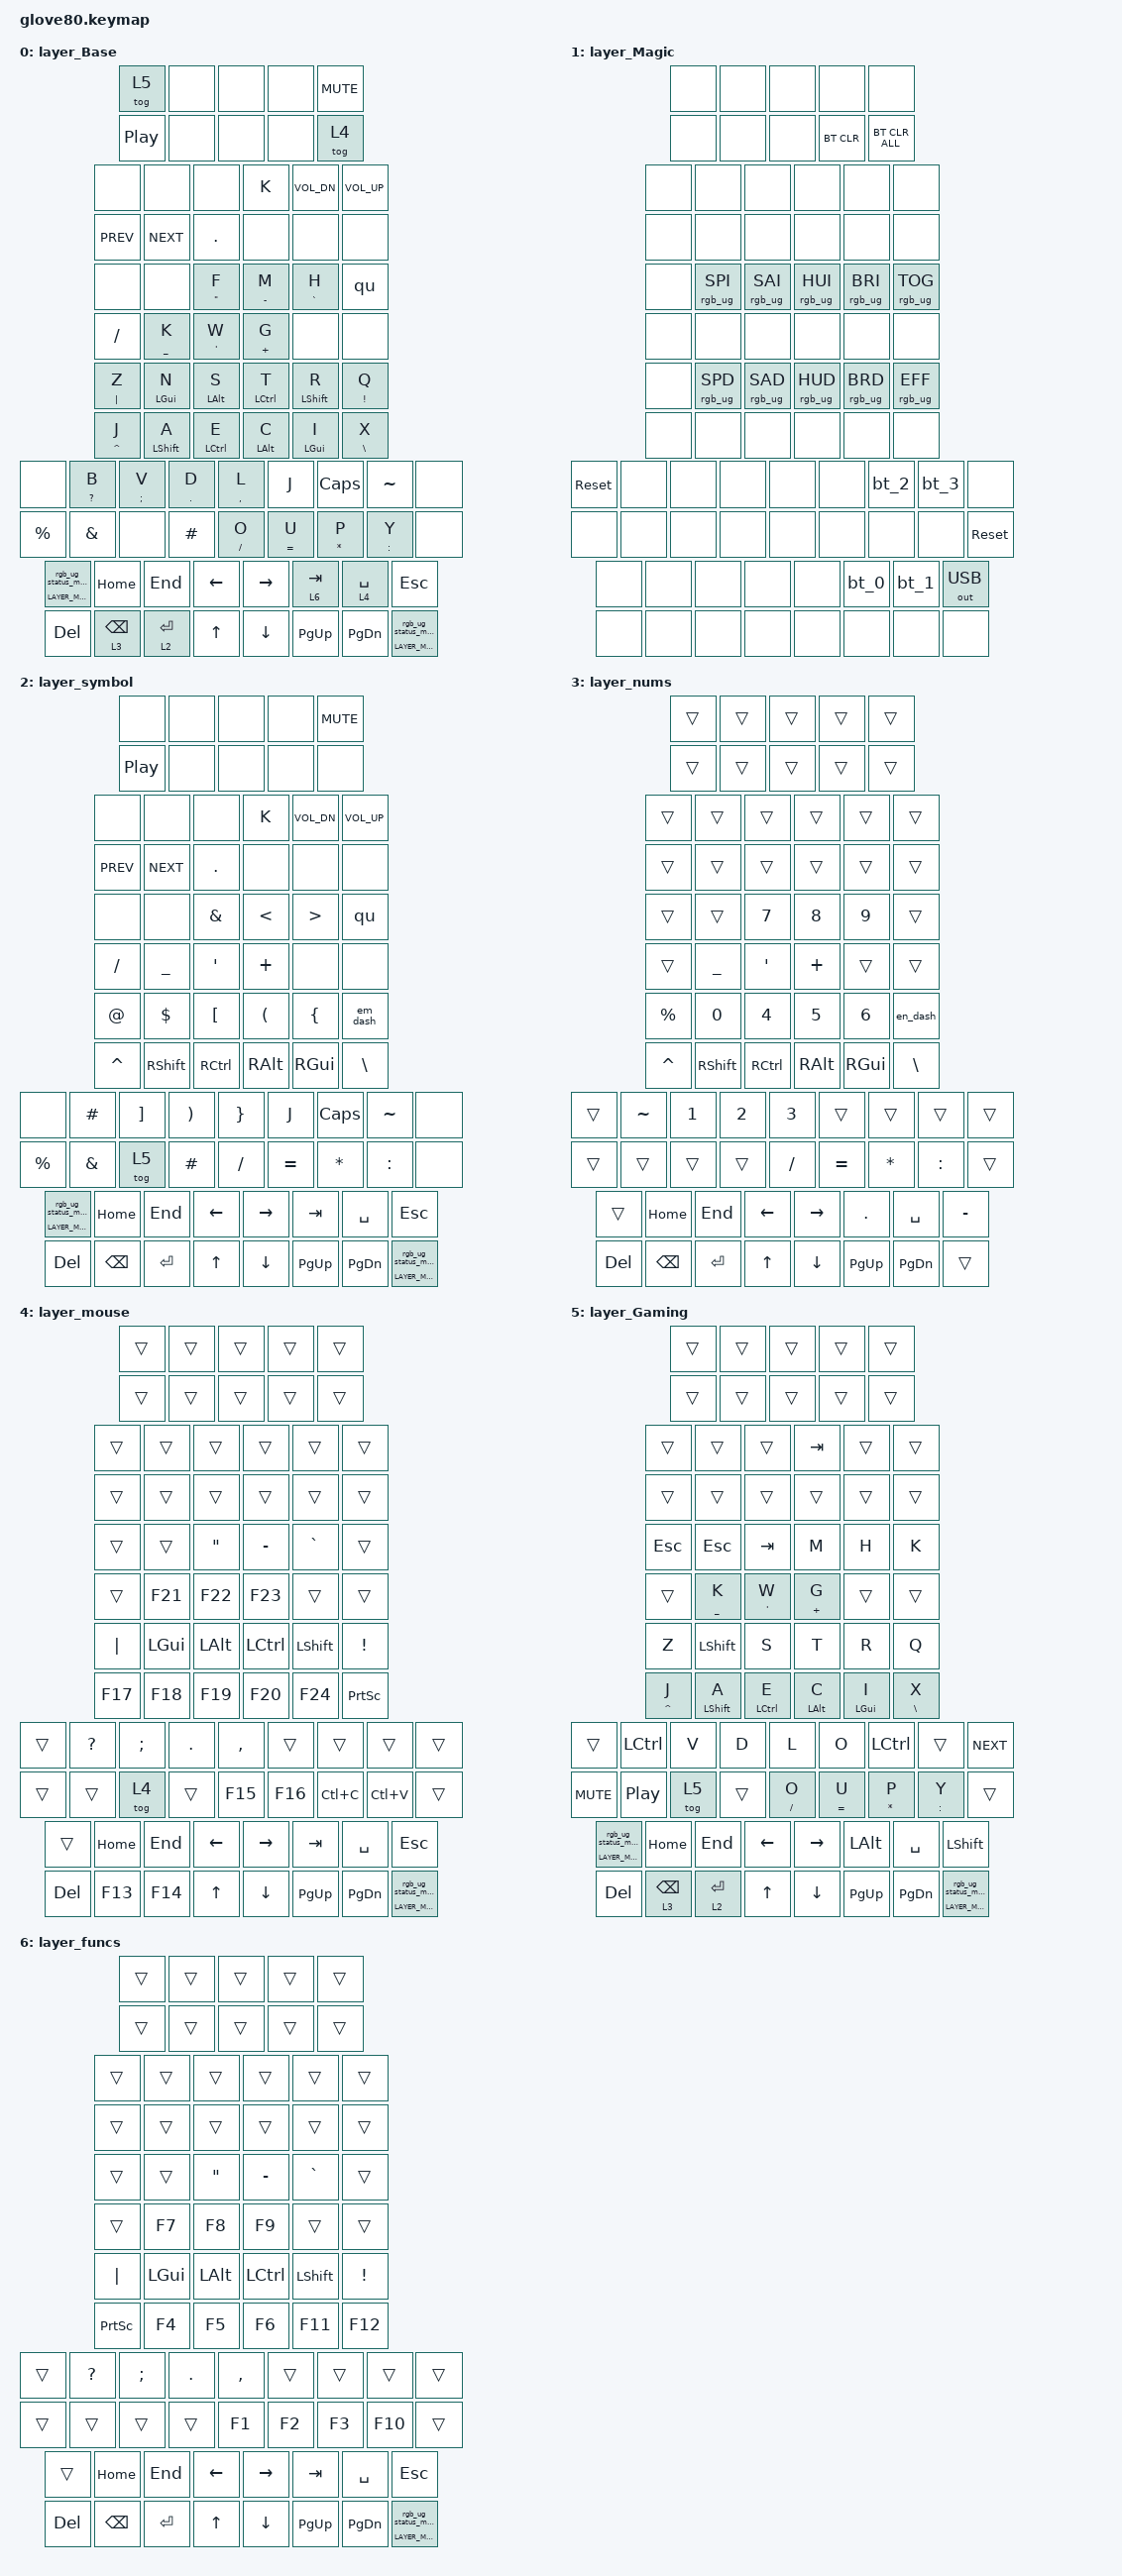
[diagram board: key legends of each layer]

/*
 * Copyright (c) 2020 The ZMK Contributors
 * Copyright (c) 2023 Innaworks Development Limited, trading as MoErgo
 *
 * SPDX-License-Identifier: MIT
 */


/* THIS FILE WAS GENERATED BY GLOVE80 LAYOUT EDITOR
 *
 * This file was generated automatically. You may or may not want to
 * edit it directly.
 */

#include <behaviors.dtsi>
/* Include all behaviour includes needed */
#include <dt-bindings/zmk/outputs.h>
#include <dt-bindings/zmk/keys.h>
#include <dt-bindings/zmk/bt.h>
#include <dt-bindings/zmk/rgb.h>

&lt {
    quick_tap_ms = <300>;
};

/* Automatically generated layer name #define */
#define LAYER_Base 0
#define LAYER_Magic 1
#define LAYER_R_Primary_Nums 2
#define LAYER_R_Secondary_Functions 3
#define LAYER_L_Primary_Functions 4
#define LAYER_L_Tertiary_Parens 5
#define LAYER_Gaming 6

/* To deal with the situation where there is no Lower layer, to keep &lower happy */
#ifndef LAYER_Lower
#define LAYER_Lower 0
#endif

/* Custom Device-tree */



/* Glove80 system behavior & macros */
/ {
    behaviors {
        // For the "layer" key, it'd nice to be able to use it as either a shift or a toggle.
        // Configure it as a tap dance, so the first tap (or hold) is a &mo and the second tap is a &to
        lower: lower {
            compatible = "zmk,behavior-tap-dance";
            label = "LAYER_TAP_DANCE";
            #binding-cells = <0>;
            tapping-term-ms = <200>;
            bindings = <&mo LAYER_Lower>, <&to LAYER_Lower>;
        };
    };
};

/ {
    macros {
        rgb_ug_status_macro: rgb_ug_status_macro {
            label = "RGB_UG_STATUS";
            compatible = "zmk,behavior-macro";
            #binding-cells = <0>;
            bindings
                = <&rgb_ug RGB_STATUS>;
        };
    };
};


/ {
#ifdef BT_DISC_CMD
    behaviors {
        bt_0: bt_0 {
            compatible = "zmk,behavior-tap-dance";
            label = "BT_0";
            #binding-cells = <0>;
            tapping-term-ms = <200>;
            bindings = <&bt_select_0>, <&bt BT_DISC 0>;
        };
        bt_1: bt_1 {
            compatible = "zmk,behavior-tap-dance";
            label = "BT_1";
            #binding-cells = <0>;
            tapping-term-ms = <200>;
            bindings = <&bt_select_1>, <&bt BT_DISC 1>;
        };
        bt_2: bt_2 {
            compatible = "zmk,behavior-tap-dance";
            label = "BT_2";
            #binding-cells = <0>;
            tapping-term-ms = <200>;
            bindings = <&bt_select_2>, <&bt BT_DISC 2>;
        };
        bt_3: bt_3 {
            compatible = "zmk,behavior-tap-dance";
            label = "BT_3";
            #binding-cells = <0>;
            tapping-term-ms = <200>;
            bindings = <&bt_select_3>, <&bt BT_DISC 3>;
        };
    };
    macros {
        bt_select_0: bt_select_0 {
            label = "BT_SELECT_0";
            compatible = "zmk,behavior-macro";
            #binding-cells = <0>;
            bindings
                = <&out OUT_BLE>,
                  <&bt BT_SEL 0>;
        };
        bt_select_1: bt_select_1 {
            label = "BT_SELECT_1";
            compatible = "zmk,behavior-macro";
            #binding-cells = <0>;
            bindings
                = <&out OUT_BLE>,
                  <&bt BT_SEL 1>;
        };
        bt_select_2: bt_select_2 {
            label = "BT_SELECT_2";
            compatible = "zmk,behavior-macro";
            #binding-cells = <0>;
            bindings
                = <&out OUT_BLE>,
                  <&bt BT_SEL 2>;
        };
        bt_select_3: bt_select_3 {
            label = "BT_SELECT_3";
            compatible = "zmk,behavior-macro";
            #binding-cells = <0>;
            bindings
                = <&out OUT_BLE>,
                  <&bt BT_SEL 3>;
        };
    };
#else
    macros {
        bt_0: bt_0 {
            label = "BT_0";
            compatible = "zmk,behavior-macro";
            #binding-cells = <0>;
            bindings
                = <&out OUT_BLE>,
                  <&bt BT_SEL 0>;
        };
        bt_1: bt_1 {
            label = "BT_1";
            compatible = "zmk,behavior-macro";
            #binding-cells = <0>;
            bindings
                = <&out OUT_BLE>,
                  <&bt BT_SEL 1>;
        };
        bt_2: bt_2 {
            label = "BT_2";
            compatible = "zmk,behavior-macro";
            #binding-cells = <0>;
            bindings
                = <&out OUT_BLE>,
                  <&bt BT_SEL 2>;
        };
        bt_3: bt_3 {
            label = "BT_3";
            compatible = "zmk,behavior-macro";
            #binding-cells = <0>;
            bindings
                = <&out OUT_BLE>,
                  <&bt BT_SEL 3>;
        };
    };
#endif
};

/* #define for key positions */
#define POS_LH_T1 52
#define POS_LH_T2 53
#define POS_LH_T3 54
#define POS_LH_T4 69
#define POS_LH_T5 70
#define POS_LH_T6 71
#define POS_LH_C1R2 15
#define POS_LH_C1R3 27
#define POS_LH_C1R4 39
#define POS_LH_C1R5 51
#define POS_LH_C2R1 4
#define POS_LH_C2R2 14
#define POS_LH_C2R3 26
#define POS_LH_C2R4 38
#define POS_LH_C2R5 50
#define POS_LH_C2R6 68
#define POS_LH_C3R1 3
#define POS_LH_C3R2 13
#define POS_LH_C3R3 25
#define POS_LH_C3R4 37
#define POS_LH_C3R5 49
#define POS_LH_C3R6 67
#define POS_LH_C4R1 2
#define POS_LH_C4R2 12
#define POS_LH_C4R3 24
#define POS_LH_C4R4 36
#define POS_LH_C4R5 48
#define POS_LH_C4R6 66
#define POS_LH_C5R1 1
#define POS_LH_C5R2 11
#define POS_LH_C5R3 23
#define POS_LH_C5R4 35
#define POS_LH_C5R5 47
#define POS_LH_C5R6 65
#define POS_LH_C6R1 0
#define POS_LH_C6R2 10
#define POS_LH_C6R3 22
#define POS_LH_C6R4 34
#define POS_LH_C6R5 46
#define POS_LH_C6R6 64
#define POS_RH_T1 57
#define POS_RH_T2 56
#define POS_RH_T3 55
#define POS_RH_T4 74
#define POS_RH_T5 73
#define POS_RH_T6 72
#define POS_RH_C1R2 16
#define POS_RH_C1R3 28
#define POS_RH_C1R4 40
#define POS_RH_C1R5 58
#define POS_RH_C2R1 5
#define POS_RH_C2R2 17
#define POS_RH_C2R3 29
#define POS_RH_C2R4 41
#define POS_RH_C2R5 59
#define POS_RH_C2R6 75
#define POS_RH_C3R1 6
#define POS_RH_C3R2 18
#define POS_RH_C3R3 30
#define POS_RH_C3R4 42
#define POS_RH_C3R5 60
#define POS_RH_C3R6 76
#define POS_RH_C4R1 7
#define POS_RH_C4R2 19
#define POS_RH_C4R3 31
#define POS_RH_C4R4 43
#define POS_RH_C4R5 61
#define POS_RH_C4R6 77
#define POS_RH_C5R1 8
#define POS_RH_C5R2 20
#define POS_RH_C5R3 32
#define POS_RH_C5R4 44
#define POS_RH_C5R5 62
#define POS_RH_C5R6 78
#define POS_RH_C6R1 9
#define POS_RH_C6R2 21
#define POS_RH_C6R3 33
#define POS_RH_C6R4 45
#define POS_RH_C6R5 63
#define POS_RH_C6R6 79

/* Custom Defined Behaviors */
/ {
    // NOTE: Use the `#define` settings below to customize this keymap!
// For example, here are the main optional features you can enable:
#define DIFFICULTY_LEVEL  4 // 0:custom, 1:easy -> 5:hard (see below)
// TIP: Add more setting overrides here instead of editing them below.

//////////////////////////////////////////////////////////////////////////////
//
// Advanced Home Row Mods (HRM) Example based on
// Sunaku's Keymap v35 -- "Glorious Engrammer"
// - https://github.com/sunaku/glove80-keymaps
//
//////////////////////////////////////////////////////////////////////////////

//
// DIFFICULTY_LEVEL specifies your level of expertise with this keymap.
// It's meant to help newcomers gradually work their way up to mastery.
// You can disable this setting by omitting it or assigning a `0` zero.
//
// #define DIFFICULTY_LEVEL 0 // custom (see defaults below)
// #define DIFFICULTY_LEVEL 1 // novice (500ms)
// #define DIFFICULTY_LEVEL 2 // slower (400ms)
// #define DIFFICULTY_LEVEL 3 // normal (300ms)
// #define DIFFICULTY_LEVEL 4 // faster (200ms)
// #define DIFFICULTY_LEVEL 5 // expert (100ms)
//
#if defined(DIFFICULTY_LEVEL) && DIFFICULTY_LEVEL > 0
#define DIFFICULTY_THRESHOLD (((6-DIFFICULTY_LEVEL)*100))
#ifndef HOMEY_HOLDING_TIME
#define HOMEY_HOLDING_TIME DIFFICULTY_THRESHOLD
#endif
#ifndef INDEX_HOLDING_TIME
#define INDEX_HOLDING_TIME DIFFICULTY_THRESHOLD
#endif
#endif

behaviors {

    //////////////////////////////////////////////////////////////////////////
    //
    // Miryoku layers and home row mods (ported from my QMK endgame)
    // - https://sunaku.github.io/home-row-mods.html#porting-to-zmk
    // - https://github.com/urob/zmk-config#timeless-homerow-mods
    //
    //////////////////////////////////////////////////////////////////////////

    //
    // HOMEY_HOLDING_TYPE defines the flavor of ZMK hold-tap behavior to use
    // for the pinky, ring, and middle fingers (which are assigned to Super,
    // Alt, and Ctrl respectively in the Miryoku system) on home row keys.
    //
    #ifndef HOMEY_HOLDING_TYPE
    #define HOMEY_HOLDING_TYPE "tap-preferred"
    #endif

    //
    // HOMEY_HOLDING_TIME defines how long you need to hold (milliseconds)
    // home row mod keys in order to send their modifiers to the computer
    // (i.e. "register" them) for mod-click mouse usage (e.g. Ctrl-Click).
    //
    #ifndef HOMEY_HOLDING_TIME
    #define HOMEY_HOLDING_TIME 270 // TAPPING_TERM + ALLOW_CROSSOVER_AFTER
    #endif

    //
    // HOMEY_STREAK_DECAY defines how long you need to wait (milliseconds)
    // after typing before you can use home row mods again.  It prevents
    // unintended activation of home row mods when you're actively typing.
    //
    #ifndef HOMEY_STREAK_DECAY
    #define HOMEY_STREAK_DECAY 250
    #endif

    //
    // HOMEY_REPEAT_DECAY defines how much time you have left (milliseconds)
    // after tapping a key to hold it again in order to make it auto-repeat.
    //
    #ifndef HOMEY_REPEAT_DECAY
    #define HOMEY_REPEAT_DECAY 300 // "tap then hold" for key auto-repeat
    #endif

    //
    // INDEX_HOLDING_TYPE defines the flavor of ZMK hold-tap behavior to use
    // for index fingers (which Miryoku assigns to Shift) on home row keys.
    //
    #ifndef INDEX_HOLDING_TYPE
    #define INDEX_HOLDING_TYPE "tap-preferred"
    #endif

    //
    // INDEX_HOLDING_TIME defines how long you need to hold (milliseconds)
    // index finger keys in order to send their modifiers to the computer
    // (i.e. "register" them) for mod-click mouse usage (e.g. Shift-Click).
    //
    #ifndef INDEX_HOLDING_TIME
    #define INDEX_HOLDING_TIME 170
    #endif

    //
    // INDEX_STREAK_DECAY defines how long you need to wait (milliseconds)
    // after typing before you can use home row mods again.  It prevents
    // unintended activation of home row mods when you're actively typing.
    //
    #ifndef INDEX_STREAK_DECAY
    #define INDEX_STREAK_DECAY 150
    #endif

    //
    // INDEX_REPEAT_DECAY defines how much time you have left (milliseconds)
    // after tapping a key to hold it again in order to make it auto-repeat.
    //
    #ifndef INDEX_REPEAT_DECAY
    #define INDEX_REPEAT_DECAY 300 // "tap then hold" for key auto-repeat
    #endif

    //
    // Glove80 key positions index for positional hold-tap
    // - https://discord.com/channels/877392805654306816/937645688244826154/1066713913351221248
    // - https://media.discordapp.net/attachments/937645688244826154/1066713913133121556/image.png
    //
    // |------------------------|------------------------|
    // | LEFT_HAND_KEYS         |        RIGHT_HAND_KEYS |
    // |                        |                        |
    // |  0  1  2  3  4         |          5  6  7  8  9 |
    // | 10 11 12 13 14 15      |      16 17 18 19 20 21 |
    // | 22 23 24 25 26 27      |      28 29 30 31 32 33 |
    // | 34 35 36 37 38 39      |      40 41 42 43 44 45 |
    // | 46 47 48 49 50 51      |      58 59 60 61 62 63 |
    // | 64 65 66 67 68         |         75 76 77 78 79 |
    // |                69 52   |   57 74                |
    // |                 70 53  |  56 73                 |
    // |                  71 54 | 55 72                  |
    // |------------------------|------------------------|
    //
    #define LEFT_HAND_KEYS      \
          0  1  2  3  4         \
         10 11 12 13 14 15      \
         22 23 24 25 26 27      \
         34 35 36 37 38 39      \
         46 47 48 49 50 51      \
         64 65 66 67 68
    #define RIGHT_HAND_KEYS     \
                                           5  6  7  8  9 \
                                       16 17 18 19 20 21 \
                                       28 29 30 31 32 33 \
                                       40 41 42 43 44 45 \
                                       58 59 60 61 62 63 \
                                          75 76 77 78 79
    #define THUMB_KEYS          \
                        69 52       57 74                \
                         70 53     56 73                 \
                          71 54   55 72

    //
    // Home row mods with per-finger configuration settings
    //
    #ifndef PINKY_HOLDING_TYPE
    #define PINKY_HOLDING_TYPE HOMEY_HOLDING_TYPE
    #endif
    #ifndef PINKY_HOLDING_TIME
    #define PINKY_HOLDING_TIME HOMEY_HOLDING_TIME
    #endif
    #ifndef PINKY_STREAK_DECAY
    #define PINKY_STREAK_DECAY HOMEY_STREAK_DECAY
    #endif
    #ifndef PINKY_REPEAT_DECAY
    #define PINKY_REPEAT_DECAY HOMEY_REPEAT_DECAY
    #endif
    #ifndef RING1_HOLDING_TYPE
    #define RING1_HOLDING_TYPE HOMEY_HOLDING_TYPE
    #endif
    #ifndef RING1_HOLDING_TIME
    #define RING1_HOLDING_TIME HOMEY_HOLDING_TIME
    #endif
    #ifndef RING1_STREAK_DECAY
    #define RING1_STREAK_DECAY HOMEY_STREAK_DECAY
    #endif
    #ifndef RING1_REPEAT_DECAY
    #define RING1_REPEAT_DECAY HOMEY_REPEAT_DECAY
    #endif
    #ifndef RING2_HOLDING_TYPE
    #define RING2_HOLDING_TYPE HOMEY_HOLDING_TYPE
    #endif
    #ifndef RING2_HOLDING_TIME
    #define RING2_HOLDING_TIME HOMEY_HOLDING_TIME
    #endif
    #ifndef RING2_STREAK_DECAY
    #define RING2_STREAK_DECAY HOMEY_STREAK_DECAY
    #endif
    #ifndef RING2_REPEAT_DECAY
    #define RING2_REPEAT_DECAY HOMEY_REPEAT_DECAY
    #endif
    #ifndef MIDDY_HOLDING_TYPE
    #define MIDDY_HOLDING_TYPE HOMEY_HOLDING_TYPE
    #endif
    #ifndef MIDDY_HOLDING_TIME
    #define MIDDY_HOLDING_TIME HOMEY_HOLDING_TIME
    #endif
    #ifndef MIDDY_STREAK_DECAY
    #define MIDDY_STREAK_DECAY HOMEY_STREAK_DECAY
    #endif
    #ifndef MIDDY_REPEAT_DECAY
    #define MIDDY_REPEAT_DECAY HOMEY_REPEAT_DECAY
    #endif
    #ifndef INDEX_HOLDING_TYPE
    #define INDEX_HOLDING_TYPE HOMEY_HOLDING_TYPE
    #endif
    #ifndef INDEX_HOLDING_TIME
    #define INDEX_HOLDING_TIME HOMEY_HOLDING_TIME
    #endif
    #ifndef INDEX_STREAK_DECAY
    #define INDEX_STREAK_DECAY HOMEY_STREAK_DECAY
    #endif
    #ifndef INDEX_REPEAT_DECAY
    #define INDEX_REPEAT_DECAY HOMEY_REPEAT_DECAY
    #endif
    #ifndef LEFT_PINKY_HOLDING_TYPE
    #define LEFT_PINKY_HOLDING_TYPE PINKY_HOLDING_TYPE
    #endif
    #ifndef LEFT_PINKY_HOLDING_TIME
    #define LEFT_PINKY_HOLDING_TIME PINKY_HOLDING_TIME
    #endif
    #ifndef LEFT_PINKY_STREAK_DECAY
    #define LEFT_PINKY_STREAK_DECAY PINKY_STREAK_DECAY
    #endif
    #ifndef LEFT_PINKY_REPEAT_DECAY
    #define LEFT_PINKY_REPEAT_DECAY PINKY_REPEAT_DECAY
    #endif
    left_pinky: homey_left_pinky {
        compatible = "zmk,behavior-hold-tap";
        flavor = LEFT_PINKY_HOLDING_TYPE;
        hold-trigger-key-positions = <RIGHT_HAND_KEYS THUMB_KEYS>;
        hold-trigger-on-release; // wait for other home row mods
        tapping-term-ms = <LEFT_PINKY_HOLDING_TIME>;
        quick-tap-ms = <LEFT_PINKY_REPEAT_DECAY>;
        require-prior-idle-ms = <LEFT_PINKY_STREAK_DECAY>;
        #binding-cells = <2>;
        bindings = <&kp>, <&kp>;
    };
    #ifndef RIGHT_PINKY_HOLDING_TYPE
    #define RIGHT_PINKY_HOLDING_TYPE PINKY_HOLDING_TYPE
    #endif
    #ifndef RIGHT_PINKY_HOLDING_TIME
    #define RIGHT_PINKY_HOLDING_TIME PINKY_HOLDING_TIME
    #endif
    #ifndef RIGHT_PINKY_STREAK_DECAY
    #define RIGHT_PINKY_STREAK_DECAY PINKY_STREAK_DECAY
    #endif
    #ifndef RIGHT_PINKY_REPEAT_DECAY
    #define RIGHT_PINKY_REPEAT_DECAY PINKY_REPEAT_DECAY
    #endif
    right_pinky: homey_right_pinky {
        compatible = "zmk,behavior-hold-tap";
        flavor = RIGHT_PINKY_HOLDING_TYPE;
        hold-trigger-key-positions = <LEFT_HAND_KEYS THUMB_KEYS>;
        hold-trigger-on-release; // wait for other home row mods
        tapping-term-ms = <RIGHT_PINKY_HOLDING_TIME>;
        quick-tap-ms = <RIGHT_PINKY_REPEAT_DECAY>;
        require-prior-idle-ms = <RIGHT_PINKY_STREAK_DECAY>;
        #binding-cells = <2>;
        bindings = <&kp>, <&kp>;
    };
    #ifndef LEFT_RING1_HOLDING_TYPE
    #define LEFT_RING1_HOLDING_TYPE RING1_HOLDING_TYPE
    #endif
    #ifndef LEFT_RING1_HOLDING_TIME
    #define LEFT_RING1_HOLDING_TIME RING1_HOLDING_TIME
    #endif
    #ifndef LEFT_RING1_STREAK_DECAY
    #define LEFT_RING1_STREAK_DECAY RING1_STREAK_DECAY
    #endif
    #ifndef LEFT_RING1_REPEAT_DECAY
    #define LEFT_RING1_REPEAT_DECAY RING1_REPEAT_DECAY
    #endif
    left_ring1: homey_left_ring1 {
        compatible = "zmk,behavior-hold-tap";
        flavor = LEFT_RING1_HOLDING_TYPE;
        hold-trigger-key-positions = <RIGHT_HAND_KEYS THUMB_KEYS>;
        hold-trigger-on-release; // wait for other home row mods
        tapping-term-ms = <LEFT_RING1_HOLDING_TIME>;
        quick-tap-ms = <LEFT_RING1_REPEAT_DECAY>;
        require-prior-idle-ms = <LEFT_RING1_STREAK_DECAY>;
        #binding-cells = <2>;
        bindings = <&kp>, <&kp>;
    };
    #ifndef RIGHT_RING1_HOLDING_TYPE
    #define RIGHT_RING1_HOLDING_TYPE RING1_HOLDING_TYPE
    #endif
    #ifndef RIGHT_RING1_HOLDING_TIME
    #define RIGHT_RING1_HOLDING_TIME RING1_HOLDING_TIME
    #endif
    #ifndef RIGHT_RING1_STREAK_DECAY
    #define RIGHT_RING1_STREAK_DECAY RING1_STREAK_DECAY
    #endif
    #ifndef RIGHT_RING1_REPEAT_DECAY
    #define RIGHT_RING1_REPEAT_DECAY RING1_REPEAT_DECAY
    #endif
    right_ring1: homey_right_ring1 {
        compatible = "zmk,behavior-hold-tap";
        flavor = RIGHT_RING1_HOLDING_TYPE;
        hold-trigger-key-positions = <LEFT_HAND_KEYS THUMB_KEYS>;
        hold-trigger-on-release; // wait for other home row mods
        tapping-term-ms = <RIGHT_RING1_HOLDING_TIME>;
        quick-tap-ms = <RIGHT_RING1_REPEAT_DECAY>;
        require-prior-idle-ms = <RIGHT_RING1_STREAK_DECAY>;
        #binding-cells = <2>;
        bindings = <&kp>, <&kp>;
    };
    #ifndef LEFT_RING2_HOLDING_TYPE
    #define LEFT_RING2_HOLDING_TYPE RING2_HOLDING_TYPE
    #endif
    #ifndef LEFT_RING2_HOLDING_TIME
    #define LEFT_RING2_HOLDING_TIME RING2_HOLDING_TIME
    #endif
    #ifndef LEFT_RING2_STREAK_DECAY
    #define LEFT_RING2_STREAK_DECAY RING2_STREAK_DECAY
    #endif
    #ifndef LEFT_RING2_REPEAT_DECAY
    #define LEFT_RING2_REPEAT_DECAY RING2_REPEAT_DECAY
    #endif
    left_ring2: homey_left_ring2 {
        compatible = "zmk,behavior-hold-tap";
        flavor = LEFT_RING2_HOLDING_TYPE;
        hold-trigger-key-positions = <RIGHT_HAND_KEYS THUMB_KEYS>;
        hold-trigger-on-release; // wait for other home row mods
        tapping-term-ms = <LEFT_RING2_HOLDING_TIME>;
        quick-tap-ms = <LEFT_RING2_REPEAT_DECAY>;
        require-prior-idle-ms = <LEFT_RING2_STREAK_DECAY>;
        #binding-cells = <2>;
        bindings = <&kp>, <&kp>;
    };
    #ifndef RIGHT_RING2_HOLDING_TYPE
    #define RIGHT_RING2_HOLDING_TYPE RING2_HOLDING_TYPE
    #endif
    #ifndef RIGHT_RING2_HOLDING_TIME
    #define RIGHT_RING2_HOLDING_TIME RING2_HOLDING_TIME
    #endif
    #ifndef RIGHT_RING2_STREAK_DECAY
    #define RIGHT_RING2_STREAK_DECAY RING2_STREAK_DECAY
    #endif
    #ifndef RIGHT_RING2_REPEAT_DECAY
    #define RIGHT_RING2_REPEAT_DECAY RING2_REPEAT_DECAY
    #endif
    right_ring2: homey_right_ring2 {
        compatible = "zmk,behavior-hold-tap";
        flavor = RIGHT_RING2_HOLDING_TYPE;
        hold-trigger-key-positions = <LEFT_HAND_KEYS THUMB_KEYS>;
        hold-trigger-on-release; // wait for other home row mods
        tapping-term-ms = <RIGHT_RING2_HOLDING_TIME>;
        quick-tap-ms = <RIGHT_RING2_REPEAT_DECAY>;
        require-prior-idle-ms = <RIGHT_RING2_STREAK_DECAY>;
        #binding-cells = <2>;
        bindings = <&kp>, <&kp>;
    };
    #ifndef LEFT_MIDDY_HOLDING_TYPE
    #define LEFT_MIDDY_HOLDING_TYPE MIDDY_HOLDING_TYPE
    #endif
    #ifndef LEFT_MIDDY_HOLDING_TIME
    #define LEFT_MIDDY_HOLDING_TIME MIDDY_HOLDING_TIME
    #endif
    #ifndef LEFT_MIDDY_STREAK_DECAY
    #define LEFT_MIDDY_STREAK_DECAY MIDDY_STREAK_DECAY
    #endif
    #ifndef LEFT_MIDDY_REPEAT_DECAY
    #define LEFT_MIDDY_REPEAT_DECAY MIDDY_REPEAT_DECAY
    #endif
    left_middy: homey_left_middy {
        compatible = "zmk,behavior-hold-tap";
        flavor = LEFT_MIDDY_HOLDING_TYPE;
        hold-trigger-key-positions = <RIGHT_HAND_KEYS THUMB_KEYS>;
        hold-trigger-on-release; // wait for other home row mods
        tapping-term-ms = <LEFT_MIDDY_HOLDING_TIME>;
        quick-tap-ms = <LEFT_MIDDY_REPEAT_DECAY>;
        require-prior-idle-ms = <LEFT_MIDDY_STREAK_DECAY>;
        #binding-cells = <2>;
        bindings = <&kp>, <&kp>;
    };
    #ifndef RIGHT_MIDDY_HOLDING_TYPE
    #define RIGHT_MIDDY_HOLDING_TYPE MIDDY_HOLDING_TYPE
    #endif
    #ifndef RIGHT_MIDDY_HOLDING_TIME
    #define RIGHT_MIDDY_HOLDING_TIME MIDDY_HOLDING_TIME
    #endif
    #ifndef RIGHT_MIDDY_STREAK_DECAY
    #define RIGHT_MIDDY_STREAK_DECAY MIDDY_STREAK_DECAY
    #endif
    #ifndef RIGHT_MIDDY_REPEAT_DECAY
    #define RIGHT_MIDDY_REPEAT_DECAY MIDDY_REPEAT_DECAY
    #endif
    right_middy: homey_right_middy {
        compatible = "zmk,behavior-hold-tap";
        flavor = RIGHT_MIDDY_HOLDING_TYPE;
        hold-trigger-key-positions = <LEFT_HAND_KEYS THUMB_KEYS>;
        hold-trigger-on-release; // wait for other home row mods
        tapping-term-ms = <RIGHT_MIDDY_HOLDING_TIME>;
        quick-tap-ms = <RIGHT_MIDDY_REPEAT_DECAY>;
        require-prior-idle-ms = <RIGHT_MIDDY_STREAK_DECAY>;
        #binding-cells = <2>;
        bindings = <&kp>, <&kp>;
    };
    #ifndef LEFT_INDEX_HOLDING_TYPE
    #define LEFT_INDEX_HOLDING_TYPE INDEX_HOLDING_TYPE
    #endif
    #ifndef LEFT_INDEX_HOLDING_TIME
    #define LEFT_INDEX_HOLDING_TIME INDEX_HOLDING_TIME
    #endif
    #ifndef LEFT_INDEX_STREAK_DECAY
    #define LEFT_INDEX_STREAK_DECAY INDEX_STREAK_DECAY
    #endif
    #ifndef LEFT_INDEX_REPEAT_DECAY
    #define LEFT_INDEX_REPEAT_DECAY INDEX_REPEAT_DECAY
    #endif
    left_index: homey_left_index {
        compatible = "zmk,behavior-hold-tap";
        flavor = LEFT_INDEX_HOLDING_TYPE;
        hold-trigger-key-positions = <RIGHT_HAND_KEYS THUMB_KEYS>;
        hold-trigger-on-release; // wait for other home row mods
        tapping-term-ms = <LEFT_INDEX_HOLDING_TIME>;
        quick-tap-ms = <LEFT_INDEX_REPEAT_DECAY>;
        require-prior-idle-ms = <LEFT_INDEX_STREAK_DECAY>;
        #binding-cells = <2>;
        bindings = <&kp>, <&kp>;
    };
    #ifndef RIGHT_INDEX_HOLDING_TYPE
    #define RIGHT_INDEX_HOLDING_TYPE INDEX_HOLDING_TYPE
    #endif
    #ifndef RIGHT_INDEX_HOLDING_TIME
    #define RIGHT_INDEX_HOLDING_TIME INDEX_HOLDING_TIME
    #endif
    #ifndef RIGHT_INDEX_STREAK_DECAY
    #define RIGHT_INDEX_STREAK_DECAY INDEX_STREAK_DECAY
    #endif
    #ifndef RIGHT_INDEX_REPEAT_DECAY
    #define RIGHT_INDEX_REPEAT_DECAY INDEX_REPEAT_DECAY
    #endif
    right_index: homey_right_index {
        compatible = "zmk,behavior-hold-tap";
        flavor = RIGHT_INDEX_HOLDING_TYPE;
        hold-trigger-key-positions = <LEFT_HAND_KEYS THUMB_KEYS>;
        hold-trigger-on-release; // wait for other home row mods
        tapping-term-ms = <RIGHT_INDEX_HOLDING_TIME>;
        quick-tap-ms = <RIGHT_INDEX_REPEAT_DECAY>;
        require-prior-idle-ms = <RIGHT_INDEX_STREAK_DECAY>;
        #binding-cells = <2>;
        bindings = <&kp>, <&kp>;
    };

};
};

/ {
    behaviors {
        magic: magic {
            compatible = "zmk,behavior-hold-tap";
            label = "MAGIC_HOLD_TAP";
            #binding-cells = <2>;
            flavor = "tap-preferred";
            tapping-term-ms = <200>;
            bindings = <&mo>, <&rgb_ug_status_macro>;
        };
        repeat_tap: repeat_tap {
            compatible = "zmk,behavior-hold-tap";
            label = "REPEAT_TAP";
            #binding-cells = <2>;
            flavor = "tap-preferred";
            tapping-term-ms = <300>;
            bindings = <&mo>, <&key_repeat>;
        };
        caps_tap: caps_tap {
            compatible = "zmk,behavior-hold-tap";
            #binding-cells = <2>;
            flavor = "tap-preferred";
            tapping-term-ms = <300>;
            bindings = <&caps_word>, <&kp>;
        };
        blht: base_layer_hold_tap {
            compatible = "zmk,behavior-hold-tap";
            #binding-cells = <2>;
            flavor = "tap-preferred";
            tapping-term-ms = <DIFFICULTY_THRESHOLD>;
            bindings = <&kp>, <&kp>;
        };
    };
};


/* Automatically generated macro definitions */
/ {
    macros {
        en_dash: en_dash {
            label = "EN_DASH";
            compatible = "zmk,behavior-macro";
            #binding-cells = <0>;
            tap-ms = <0>;
            wait-ms = <0>;
            bindings
                = <&macro_press &kp LALT>
                , <&macro_tap &kp KP_N0 &kp KP_N1 &kp KP_N5 &kp KP_N0>
                , <&macro_release &kp LALT>
                ;
        };

        em_dash: em_dash {
            label = "EM_DASH";
            compatible = "zmk,behavior-macro";
            #binding-cells = <0>;
            tap-ms = <0>;
            wait-ms = <0>;
            bindings
                = <&macro_press &kp LALT>
                , <&macro_tap &kp KP_N0 &kp KP_N1 &kp KP_N5 &kp KP_N1>
                , <&macro_release &kp LALT>
                ;
        };

        qu: qu {
            label = "QU";
            compatible = "zmk,behavior-macro";
            #binding-cells = <0>;
            tap-ms = <0>;
            wait-ms = <0>;
            bindings
                = <&macro_tap &kp Q &kp U>
                ;
        };

    };
};

/ {
 keymap {
 compatible = "zmk,keymap";


 layer_Base {
 bindings = <
 &tog 5 &none &none &none &kp C_MUTE
 &kp C_PP &none &none &none &tog 4

 &none &none &none &kp K &kp C_VOL_DN &kp C_VOL_UP
 &kp C_PREV &kp C_NEXT &kp DOT &none &none &none

 &none &none &blht DQT F &blht MINUS M &blht GRAVE H &qu
 &kp FSLH &blht UNDER K &blht SQT W &blht PLUS G &none &none

 &blht PIPE Z &left_pinky LGUI N &left_ring1 LALT S &left_middy LCTRL T &left_index LSHFT R &blht EXCL Q
 &blht CARET J &right_index LSHFT A &right_middy LCTRL E &right_ring1 LALT C &right_pinky LGUI I &blht BSLH X

 &none &blht QMARK B &blht SEMI V &blht DOT D &blht COMMA L &kp J &kp CAPS &kp TILDE &none
 &kp PERCENT &kp AMPS &none &kp HASH &blht FSLH O &blht EQUAL U &blht STAR P &blht COLON Y &none

 &magic LAYER_Magic 0 &kp HOME &kp END &kp LEFT &kp RIGHT &lt 6 TAB &lt 4 SPACE &kp ESC
 &kp DEL &lt 3 BSPC &lt 2 RET &kp UP &kp DOWN &kp PG_UP &kp PG_DN &magic LAYER_Magic 0
 >;
 };

 layer_Magic {
 bindings = <
 &none &none &none &none &none
 &none &none &none &bt BT_CLR &bt BT_CLR_ALL

 &none &none &none &none &none &none
 &none &none &none &none &none &none

 &none &rgb_ug RGB_SPI &rgb_ug RGB_SAI &rgb_ug RGB_HUI &rgb_ug RGB_BRI &rgb_ug RGB_TOG
 &none &none &none &none &none &none

 &none &rgb_ug RGB_SPD &rgb_ug RGB_SAD &rgb_ug RGB_HUD &rgb_ug RGB_BRD &rgb_ug RGB_EFF
 &none &none &none &none &none &none

 &sys_reset &none &none &none &none &none &bt_2 &bt_3 &none
 &none &none &none &none &none &none &none &none &sys_reset

 &none &none &none &none &none &bt_0 &bt_1 &out OUT_USB
 &none &none &none &none &none &none &none &none
 >;
 };

 layer_symbol {
 bindings = <
 &none &none &none &none &kp C_MUTE
 &kp C_PP &none &none &none &none

 &none &none &none &kp K &kp C_VOL_DN &kp C_VOL_UP
 &kp C_PREV &kp C_NEXT &kp DOT &none &none &none

 &none &none &kp AMPS &kp LT &kp GT &qu
 &kp FSLH &kp UNDER &kp SQT &kp PLUS &none &none

 &kp AT &kp DLLR &kp LBKT &kp LPAR &kp LBRC &em_dash
 &kp CARET &kp RSHFT &kp RCTRL &kp RALT &kp RGUI &kp BSLH

 &none &kp HASH &kp RBKT &kp RPAR &kp RBRC &kp J &kp CAPS &kp TILDE &none
 &kp PERCENT &kp AMPS &tog 5 &kp HASH &kp FSLH &kp EQUAL &kp STAR &kp COLON &none

 &magic LAYER_Magic 0 &kp HOME &kp END &kp LEFT &kp RIGHT &kp TAB &kp SPACE &kp ESC
 &kp DEL &kp BSPC &kp RET &kp UP &kp DOWN &kp PG_UP &kp PG_DN &magic LAYER_Magic 0
 >;
 };

 layer_nums {
 bindings = <
 &trans &trans &trans &trans &trans
 &trans &trans &trans &trans &trans

 &trans &trans &trans &trans &trans &trans
 &trans &trans &trans &trans &trans &trans

 &trans &trans &kp N7 &kp N8 &kp N9 &trans
 &trans &kp UNDER &kp SQT &kp PLUS &trans &trans

 &kp PRCNT &kp N0 &kp N4 &kp N5 &kp N6 &en_dash
 &kp CARET &kp RSHFT &kp RCTRL &kp RALT &kp RGUI &kp BSLH

 &trans &kp TILDE &kp N1 &kp N2 &kp N3 &trans &trans &trans &trans
 &trans &trans &trans &trans &kp FSLH &kp EQUAL &kp STAR &kp COLON &trans

 &trans &kp HOME &kp END &kp LEFT &kp RIGHT &kp DOT &kp SPACE &kp MINUS
 &kp DEL &kp BSPC &kp RET &kp UP &kp DOWN &kp PG_UP &kp PG_DN &trans
 >;
 };


 layer_mouse {
 bindings = <
 &trans &trans &trans &trans &trans
 &trans &trans &trans &trans &trans

 &trans &trans &trans &trans &trans &trans
 &trans &trans &trans &trans &trans &trans

 &trans &trans &kp DQT &kp MINUS &kp GRAVE &trans
 &trans &kp F21 &kp F22 &kp F23 &trans &trans

 &kp PIPE &kp LGUI &kp LALT &kp LCTRL &kp LSHFT &kp EXCL
 &kp F17 &kp F18 &kp F19 &kp F20 &kp F24 &kp PSCRN

 &trans &kp QMARK &kp SEMI &kp DOT &kp COMMA &trans &trans &trans &trans
 &trans &trans &tog 4 &trans &kp F15 &kp F16 &kp LC(C) &kp LC(V) &trans

 &trans &kp HOME &kp END &kp LEFT &kp RIGHT &kp TAB &kp SPACE &kp ESC
 &kp DEL &kp F13 &kp F14 &kp UP &kp DOWN &kp PG_UP &kp PG_DN &magic LAYER_Magic 0
 >;
 };


 layer_Gaming {
 bindings = <
 &trans &trans &trans &trans &trans
 &trans &trans &trans &trans &trans

 &trans &trans &trans &kp TAB &trans &trans
 &trans &trans &trans &trans &trans &trans

 &kp ESC &kp ESC &kp TAB &kp M &kp H &kp K
 &trans &blht UNDER K &blht SQT W &blht PLUS G &trans &trans

 &kp Z &kp LSHFT &kp S &kp T &kp R &kp Q
 &blht CARET J &right_index LSHFT A &right_middy LCTRL E &right_ring1 LALT C &right_pinky LGUI I &blht BSLH X

 &trans &kp LCTRL &kp V &kp D &kp L &kp O &kp LCTRL &trans &kp C_NEXT
 &kp C_MUTE &kp C_PP &tog 5 &trans &blht FSLH O &blht EQUAL U &blht STAR P &blht COLON Y &trans
 
 &magic LAYER_Magic 0 &kp HOME &kp END &kp LEFT &kp RIGHT &kp LALT &kp SPACE &kp LSHFT
 &kp DEL &lt 3 BSPC &lt 2 RET &kp UP &kp DOWN &kp PG_UP &kp PG_DN &magic LAYER_Magic 0
 >;
 };

 layer_funcs {
 bindings = <
 &trans &trans &trans &trans &trans
 &trans &trans &trans &trans &trans

 &trans &trans &trans &trans &trans &trans
 &trans &trans &trans &trans &trans &trans

 &trans &trans &kp DQT &kp MINUS &kp GRAVE &trans
 &trans &kp F7 &kp F8 &kp F9 &trans &trans

 &kp PIPE &kp LGUI &kp LALT &kp LCTRL &kp LSHFT &kp EXCL
 &kp PSCRN &kp F4 &kp F5 &kp F6 &kp F11 &kp F12

 &trans &kp QMARK &kp SEMI &kp DOT &kp COMMA &trans &trans &trans &trans
 &trans &trans &trans &trans &kp F1 &kp F2 &kp F3 &kp F10 &trans

 &trans &kp HOME &kp END &kp LEFT &kp RIGHT &kp TAB &kp SPACE &kp ESC
 &kp DEL &kp BSPC &kp RET &kp UP &kp DOWN &kp PG_UP &kp PG_DN &magic LAYER_Magic 0
 >;
 };
 };
};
